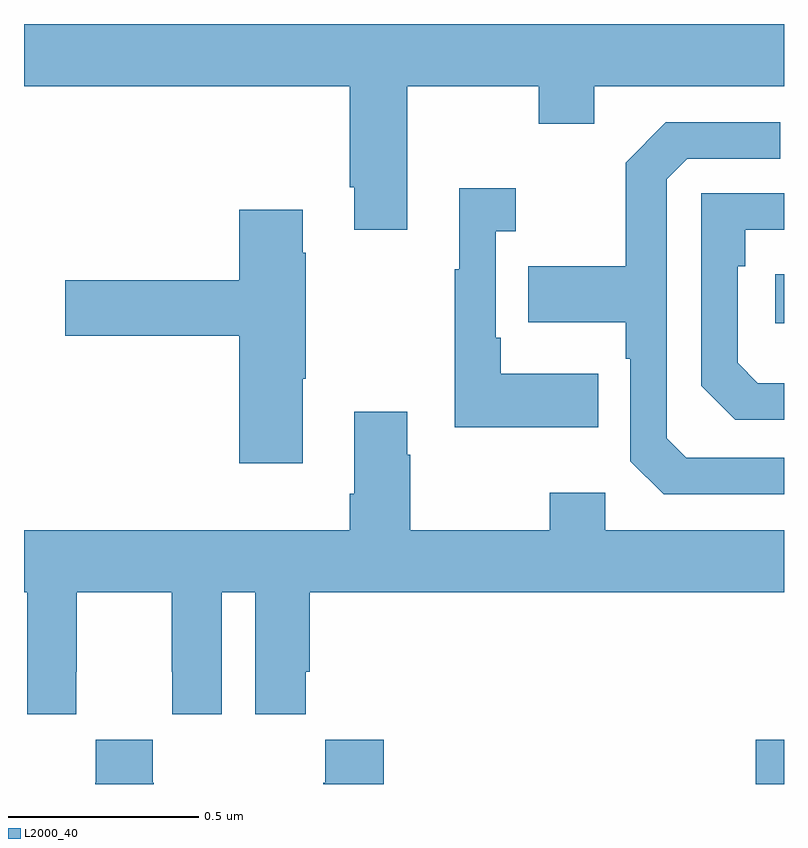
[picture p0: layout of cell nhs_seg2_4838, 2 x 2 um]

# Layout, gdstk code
import gdstk
lib = gdstk.Library(unit=1e-6, precision=1e-09)
def R(c, l, rs):  # rectangles x0, y0, x1, y1
    for r in rs: c.add(gdstk.rectangle(r[:2], r[2:], *l))
def P(c, l, *ps):  # polygons
    for p in ps: c.add(gdstk.Polygon(p, *l))
L2000_40 = (2000, 40)

nhs_seg2_4838 = lib.new_cell('nhs_seg2_4838')
R(nhs_seg2_4838, L2000_40, [(172.925,645.8,173,645.916), (172.977,647.012,173,647.142)])
P(nhs_seg2_4838, L2000_40, [(171,647.636),(171.857,647.636),(171.857,647.371),(171.869,647.371),(171.869,647.259),(172.009,647.259),(172.009,647.636),(172.354,647.636),(172.354,647.537),(172.501,647.537),(172.501,647.636),(173,647.636),(173,647.8),(171,647.8)],
  [(173,646.659),(172.743,646.659),(172.692,646.71),(172.692,647.391),(172.746,647.445),(172.99,647.445),(172.99,647.541),(172.689,647.541),(172.584,647.435),(172.584,647.163),(172.327,647.163),(172.327,647.015),(172.584,647.015),(172.584,646.919),(172.596,646.919),(172.596,646.65),(172.683,646.563),(173,646.563)],
  [(172.511,646.879),(172.255,646.879),(172.255,646.975),(172.242,646.975),(172.242,647.255),(172.294,647.255),(172.294,647.368),(172.145,647.368),(172.145,647.155),(172.134,647.155),(172.134,646.739),(172.511,646.739)],
  [(173,646.855),(172.931,646.855),(172.878,646.908),(172.878,647.162),(172.898,647.162),(172.898,647.259),(173,647.259),(173,647.355),(172.782,647.355),(172.782,646.848),(172.872,646.758),(173,646.758)],
  [(171.733,646.867),(171.741,646.867),(171.741,647.198),(171.733,647.198),(171.733,647.311),(171.566,647.311),(171.566,647.126),(171.108,647.126),(171.108,646.979),(171.566,646.979),(171.566,646.644),(171.733,646.644)],
  [(171.138,646.096),(171.139,646.096),(171.139,646.304),(171.389,646.304),(171.389,646.096),(171.39,646.096),(171.39,645.984),(171.52,645.984),(171.52,646.304),(171.608,646.304),(171.608,645.984),(171.742,645.984),(171.742,646.096),(171.752,646.096),(171.752,646.304),(173,646.304),(173,646.468),(172.53,646.468),(172.53,646.567),(172.384,646.567),(172.384,646.468),(172.017,646.468),(172.017,646.667),(172.009,646.667),(172.009,646.78),(171.869,646.78),(171.869,646.564),(171.857,646.564),(171.857,646.468),(171,646.468),(171,646.304),(171.008,646.304),(171.008,645.984),(171.138,645.984)],
  [(171.342,645.803),(171.339,645.803),(171.339,645.916),(171.189,645.916),(171.189,645.803),(171.187,645.803),(171.187,645.8),(171.342,645.8)],
  [(171.947,645.916),(171.793,645.916),(171.793,645.803),(171.787,645.803),(171.787,645.8),(171.947,645.8)])

lib.write_gds('nhs_seg2_4838.gds')
